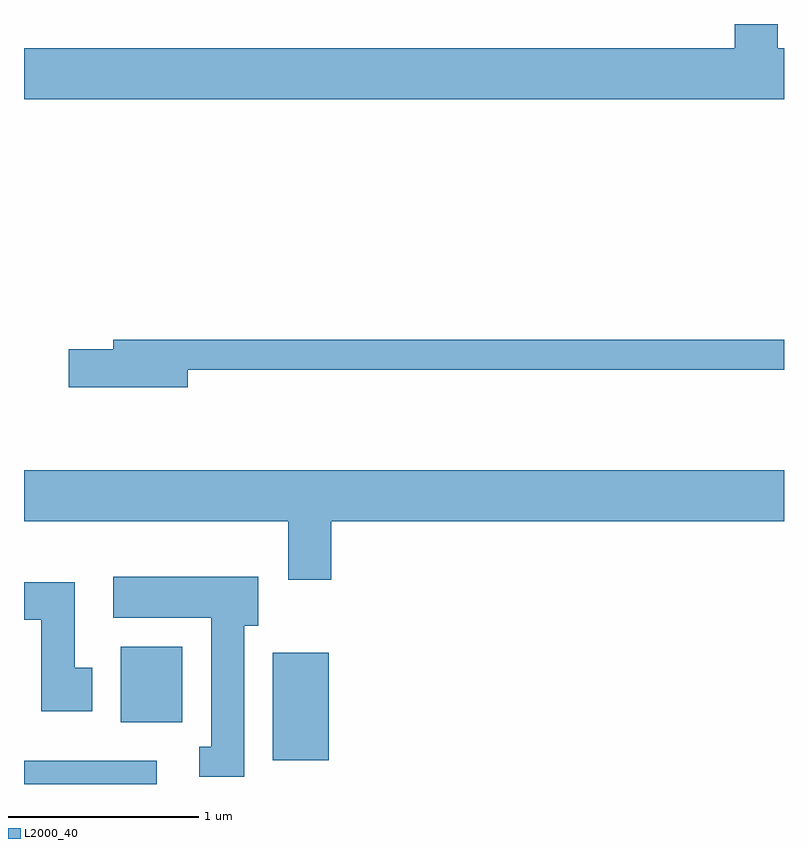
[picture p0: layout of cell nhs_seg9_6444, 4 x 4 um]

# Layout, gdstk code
import gdstk
lib = gdstk.Library(unit=1e-6, precision=1e-09)
def R(c, l, rs):  # rectangles x0, y0, x1, y1
    for r in rs: c.add(gdstk.rectangle(r[:2], r[2:], *l))
def P(c, l, *ps):  # polygons
    for p in ps: c.add(gdstk.Polygon(p, *l))
L2000_40 = (2000, 40)

nhs_seg9_6444 = lib.new_cell('nhs_seg9_6444')
R(nhs_seg9_6444, L2000_40, [(375.611,1990.432,376.309,1990.554), (376.921,1990.556,377.214,1991.124), (376.121,1990.756,376.444,1991.154)])
P(nhs_seg9_6444, L2000_40, [(379.611,1994.304),(379.579,1994.304),(379.579,1994.432),(379.351,1994.432),(379.351,1994.304),(375.611,1994.304),(375.611,1994.036),(379.611,1994.036)],
  [(376.474,1992.611),(379.611,1992.611),(379.611,1992.769),(376.081,1992.769),(376.081,1992.719),(375.846,1992.719),(375.846,1992.521),(376.474,1992.521)],
  [(377.229,1991.816),(379.611,1991.816),(379.611,1992.084),(375.611,1992.084),(375.611,1991.816),(377.001,1991.816),(377.001,1991.506),(377.229,1991.506)],
  [(376.769,1991.266),(376.844,1991.266),(376.844,1991.524),(376.081,1991.524),(376.081,1991.306),(376.596,1991.306),(376.596,1990.629),(376.533,1990.629),(376.533,1990.471),(376.769,1990.471)],
  [(375.969,1991.044),(375.879,1991.044),(375.879,1991.494),(375.611,1991.494),(375.611,1991.296),(375.701,1991.296),(375.701,1990.816),(375.969,1990.816)])

lib.write_gds('nhs_seg9_6444.gds')
